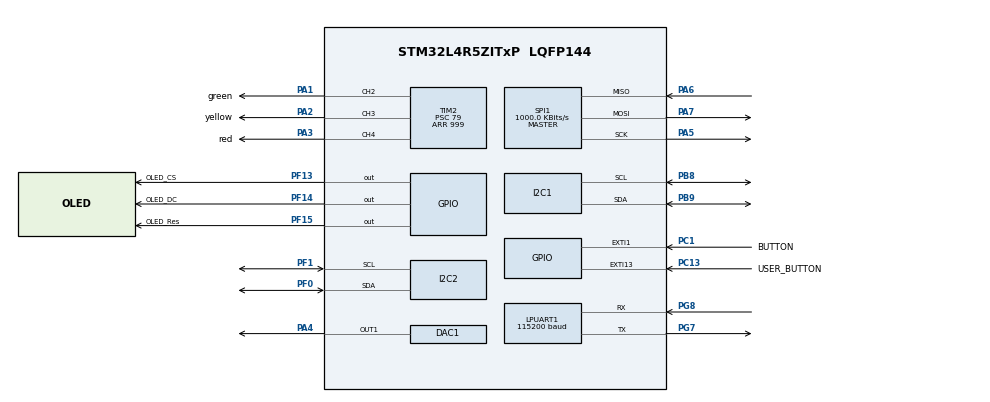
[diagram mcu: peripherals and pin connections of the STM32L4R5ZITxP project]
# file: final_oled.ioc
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DAC1.DAC_Trigger-DAC_OUT1_ExtAndInt=DAC_TRIGGER_T6_TRGO
Dma.DAC1_CH1.0.Direction=DMA_MEMORY_TO_PERIPH
Dma.DAC1_CH1.0.EventEnable=DISABLE
Dma.DAC1_CH1.0.Instance=DMA1_Channel1
Dma.DAC1_CH1.0.MemDataAlignment=DMA_MDATAALIGN_HALFWORD
Dma.DAC1_CH1.0.MemInc=DMA_MINC_ENABLE
Dma.DAC1_CH1.0.Mode=DMA_NORMAL
Dma.DAC1_CH1.0.PeriphDataAlignment=DMA_PDATAALIGN_HALFWORD
Dma.DAC1_CH1.0.PeriphInc=DMA_PINC_DISABLE
Dma.DAC1_CH1.0.Polarity=HAL_DMAMUX_REQUEST_GEN_RISING
Dma.DAC1_CH1.0.Priority=DMA_PRIORITY_LOW
Dma.DAC1_CH1.0.RequestNumber=1
Dma.DAC1_CH1.0.SignalID=NONE
Dma.DAC1_CH1.0.SyncEnable=DISABLE
Dma.DAC1_CH1.0.SyncPolarity=HAL_DMAMUX_SYNC_NO_EVENT
Dma.DAC1_CH1.0.SyncRequestNumber=1
Dma.DAC1_CH1.0.SyncSignalID=NONE
Dma.Request0=DAC1_CH1
I2C1.Timing=0x00100D14
I2C2.Timing=0x00100D14
LPUART1.BaudRate=115200
LPUART1.WordLength=UART_WORDLENGTH_8B
Mcu.Family=STM32L4
Mcu.Name=STM32L4R5ZITxP
Mcu.Package=LQFP144
NVIC.DMA1_Channel1_IRQn=true\:0\:0\:false\:false\:true\:false\:true\:true
NVIC.EXTI1_IRQn=true\:0\:0\:false\:false\:true\:true\:true\:true
NVIC.PriorityGroup=NVIC_PRIORITYGROUP_4
NVIC.TIM6_DAC_IRQn=true\:0\:0\:false\:false\:true\:true\:true\:true
PA1.GPIO_Label=green
PA1.Signal=S_TIM2_CH2
PA10.Signal=USB_OTG_FS_ID
PA13\ (JTMS/SWDIO).Signal=SYS_JTMS-SWDIO
PA14\ (JTCK/SWCLK).Signal=SYS_JTCK-SWCLK
PA2.GPIO_Label=yellow
PA2.Signal=S_TIM2_CH3
PA3.GPIO_Label=red
PA3.Signal=S_TIM2_CH4
PA4.Signal=COMP_DAC11_group
PA5.Mode=Full_Duplex_Master
PA5.Signal=SPI1_SCK
PA6.Mode=Full_Duplex_Master
PA6.Signal=SPI1_MISO
PA7.Mode=Full_Duplex_Master
PA7.Signal=SPI1_MOSI
PA8.Signal=USB_OTG_FS_SOF
PA9.Signal=USB_OTG_FS_VBUS
PB0.Signal=S_TIM3_CH3
PB1.Signal=ADCx_IN16
PB12.Signal=SAI2_FS_A
PB13.Signal=SAI2_SCK_A
PB14.Signal=S_TIM15_CH1
PB15.Signal=SAI2_SD_A
PB2.Signal=COMP1_INP
PB3\ (JTDO/TRACESWO).Signal=SPI3_SCK
PB4\ (NJTRST).Signal=SPI3_MISO
PB5.Signal=SPI3_MOSI
PB6.Signal=COMP2_INP
PB8.Mode=I2C
PB8.Signal=I2C1_SCL
PB9.Mode=I2C
PB9.Signal=I2C1_SDA
PC0.Signal=ADCx_IN1
PC1.GPIO_Label=BUTTON
PC1.GPIO_ModeDefaultEXTI=GPIO_MODE_IT_RISING_FALLING
PC1.GPIO_PuPd=GPIO_PULLUP
PC1.Signal=GPXTI1
PC10.Signal=SDMMC1_D2
PC11.Signal=SDMMC1_D3
PC12.Signal=SDMMC1_CK
PC13.GPIO_Label=USER_BUTTON
PC13.GPIO_PuPd=GPIO_PULLDOWN
PC13.Signal=GPXTI13
PC14-OSC32_IN\ (PC14).Signal=RCC_OSC32_IN
PC15-OSC32_OUT\ (PC15).Signal=RCC_OSC32_OUT
PC2.Signal=ADCx_IN3
PC3.Signal=ADCx_IN4
PC4.Signal=ADCx_IN13
PC5.Signal=ADCx_IN14
PC6.Signal=SAI2_MCLK_A
PC7.Signal=S_TIM3_CH2
PC8.Signal=SDMMC1_D0
PC9.Signal=SDMMC1_D1
PD0.Signal=CAN1_RX
PD14.Signal=S_TIM4_CH3
PD15.Signal=S_TIM4_CH4
PD2.Signal=SDMMC1_CMD
PD3.Signal=USART2_CTS
PD4.Signal=USART2_RTS
PD5.Signal=USART2_TX
PD6.Signal=USART2_RX
PD8.Signal=USART3_TX
PD9.Signal=USART3_RX
PE0.Signal=S_TIM4_ETR
PE10.Signal=TIM1_CH2N
PE11.Signal=S_TIM1_CH2
PE12.Signal=TIM1_CH3N
PE13.Signal=S_TIM1_CH3
PE14.Signal=TIM1_BKIN2
PE15.Signal=TIM1_BKIN
PE2.Signal=SAI1_MCLK_A
PE3.Signal=SAI1_SD_B
PE7.Signal=S_TIM1_ETR
PE8.Signal=TIM1_CH1N
PE9.Signal=S_TIM1_CH1
PF0.Mode=I2C
PF0.Signal=I2C2_SDA
PF1.Mode=I2C
PF1.Signal=I2C2_SCL
PF13.GPIO_Label=OLED_CS
PF13.GPIO_Speed=GPIO_SPEED_FREQ_LOW
PF13.PinState=GPIO_PIN_SET
PF13.Signal=GPIO_Output
PF14.GPIO_Label=OLED_DC
PF14.PinState=GPIO_PIN_SET
PF14.Signal=GPIO_Output
PF15.GPIO_Label=OLED_Res
PF15.PinState=GPIO_PIN_SET
PF15.Signal=GPIO_Output
PF2.Signal=I2C2_SMBA
PF7.Signal=SAI1_MCLK_B
PG7.Mode=Asynchronous
PG7.Signal=LPUART1_TX
PG8.Mode=Asynchronous
PG8.Signal=LPUART1_RX
PH0-OSC_IN\ (PH0).Signal=RCC_OSC_IN
PH1-OSC_OUT\ (PH1).Signal=RCC_OSC_OUT
ProjectManager.HeapSize=0x200
ProjectManager.StackSize=0x400
ProjectManager.TargetToolchain=STM32CubeIDE
RCC.HSE_VALUE=8000000
RCC.HSI48_VALUE=48000000
RCC.HSI_VALUE=16000000
RCC.LSE_VALUE=32768
RCC.MSI_VALUE=4000000
RCC.VCOOutputFreq_Value=32000000
SH.ADCx_IN1.0=ADC1_IN1
SH.ADCx_IN13.0=ADC1_IN13
SH.ADCx_IN14.0=ADC1_IN14
SH.ADCx_IN16.0=ADC1_IN16
SH.ADCx_IN3.0=ADC1_IN3
SH.ADCx_IN4.0=ADC1_IN4
SH.COMP_DAC11_group.0=DAC1_OUT1,DAC_OUT1_ExtAndInt
SH.S_TIM15_CH1.0=TIM15_CH1
SH.S_TIM1_CH1.0=TIM1_CH1
SH.S_TIM1_CH2.0=TIM1_CH2
SH.S_TIM1_CH3.0=TIM1_CH3
SH.S_TIM1_ETR.0=TIM1_ETR
SH.S_TIM2_CH2.0=TIM2_CH2,PWM Generation2 CH2
SH.S_TIM2_CH3.0=TIM2_CH3,PWM Generation3 CH3
SH.S_TIM2_CH4.0=TIM2_CH4,PWM Generation4 CH4
SH.S_TIM3_CH2.0=TIM3_CH2
SH.S_TIM3_CH3.0=TIM3_CH3
SH.S_TIM4_CH3.0=TIM4_CH3
SH.S_TIM4_CH4.0=TIM4_CH4
SH.S_TIM4_ETR.0=TIM4_ETR
SPI1.BaudRatePrescaler=SPI_BAUDRATEPRESCALER_4
SPI1.CalculateBaudRate=1000.0 KBits/s
SPI1.DataSize=SPI_DATASIZE_8BIT
SPI1.Direction=SPI_DIRECTION_2LINES
SPI1.Mode=SPI_MODE_MASTER
SPI1.VirtualType=VM_MASTER
TIM2.Channel-PWM\ Generation2\ CH2=TIM_CHANNEL_2
TIM2.Channel-PWM\ Generation3\ CH3=TIM_CHANNEL_3
TIM2.Channel-PWM\ Generation4\ CH4=TIM_CHANNEL_4
TIM2.Period=999
TIM2.Prescaler=79
TIM2.Pulse-PWM\ Generation2\ CH2=500
TIM2.Pulse-PWM\ Generation3\ CH3=500
TIM2.Pulse-PWM\ Generation4\ CH4=500
TIM6.Period=181
TIM6.TIM_MasterOutputTrigger=TIM_TRGO_UPDATE
VP_TIM2_VS_ClockSourceINT.Mode=Internal
VP_TIM6_VS_ClockSourceINT.Mode=Enable_Timer
board=NUCLEO-L4R5ZI-P

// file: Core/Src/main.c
/* USER CODE BEGIN Header */
/**
  ******************************************************************************
  * @file           : main.c
  * @brief          : Main program body
  ******************************************************************************
  * @attention
  *
  * Copyright (c) 2025 STMicroelectronics.
  * All rights reserved.
  *
  * This software is licensed under terms that can be found in the LICENSE file
  * in the root directory of this software component.
  * If no LICENSE file comes with this software, it is provided AS-IS.
  *
  ******************************************************************************
  */
/* USER CODE END Header */
#include "main.h"
#include "dac.h"
#include "dma.h"
#include "i2c.h"
#include "usart.h"
#include "spi.h"
#include "tim.h"
#include "gpio.h"

/* USER CODE BEGIN Includes */
#include "ssd1306.h"
#include "ssd1306_fonts.h"
#include <string.h>

#include "utils.h"
#include <stdio.h>

#include <stdbool.h>

#include "ssd1306_tests.h"
#include "system_state.h"
#include "button.h"
#include "oled.h"
#include "speaker.h"
#include "led.h"

#include "acc_mag.h"
#include "acc_controller.h"
#include "i2c_helper.h"

/* USER CODE END Includes */

void SystemClock_Config(void);

int main(void)
{

  /* MCU Configuration--------------------------------------------------------*/

  /* Reset of all peripherals, Initializes the Flash interface and the Systick. */
  HAL_Init();

  /* Configure the system clock */
  SystemClock_Config();

  /* Initialize all configured peripherals */
  MX_GPIO_Init();
  MX_DMA_Init();
  MX_LPUART1_UART_Init();
  MX_SPI1_Init();
  MX_DAC1_Init();
  MX_TIM6_Init();
  MX_I2C1_Init();
  MX_I2C2_Init();
  MX_TIM2_Init();
  /* USER CODE BEGIN 2 */

  ssd1306_Init(); 				// Initialize OLED display

  initSpeaker();				// Initialize speaker

  acc_controller_init();		// Initialize accelerometers

  led_init();					// Initialize leds

  // Display startup message
  ssd1306_SetCursor(10, 10);	  	// Place cursor
  ssd1306_WriteString("Bike Drift", Font_11x18, White);
  ssd1306_SetCursor(25, 33);	  	// Place cursor
  ssd1306_WriteString("Speaker", Font_11x18, White);

  ssd1306_UpdateScreen();

  loadDrift(driftIndex, volumeScale); // Pre-load drift 1

  /* USER CODE END 2 */

  /* Infinite loop */
  /* USER CODE BEGIN WHILE */

  while (1)
  {
	  // 1. Determine button press and set flags for OLED, speaker, and accel
	  handle_button();

	  // 2. Check for turning signal from accelerometers
	  turning = update_gyr_data_just_enable();

	  // 3. Refresh the display to show new message
	  if (refreshDisplay) {
		  refreshDisplay = 0;

		  switch (currentMode) {
		  	  case MODE_ACCEL:
		  		  oled_accel_mode();
		  		  break;
		  	  case MODE_SOUND:
	  			  oled_speaker_mode();
		  		  break;
		  	  case MODE_VOLUME:
		  		  if (volumeSet) {
		  			  oled_volume_set();
		  			  HAL_Delay(1500);
		  			  oled_volume_mode();
		  		  } else {
		  			  // Update volume bar
		  			  oled_volume_mode();
		  		  }
		  		  break;
		  	  default:
		  		  break;
		  }
	  }

	  // 4. Play drift sound
	  if (turning) {
		  playDrift();
	  }

	  // 5. Set LED brightness
	  Set_LED_Brightness(volumeScale);

    /* USER CODE END WHILE */

  }
}

void SystemClock_Config(void)
{
  RCC_OscInitTypeDef RCC_OscInitStruct = {0};
  RCC_ClkInitTypeDef RCC_ClkInitStruct = {0};

  /** Configure the main internal regulator output voltage
  */
  if (HAL_PWREx_ControlVoltageScaling(PWR_REGULATOR_VOLTAGE_SCALE1) != HAL_OK)
  {
    Error_Handler();
  }

  /** Initializes the RCC Oscillators according to the specified parameters
  * in the RCC_OscInitTypeDef structure.
  */
  RCC_OscInitStruct.OscillatorType = RCC_OSCILLATORTYPE_MSI;
  RCC_OscInitStruct.MSIState = RCC_MSI_ON;
  RCC_OscInitStruct.MSICalibrationValue = 0;
  RCC_OscInitStruct.MSIClockRange = RCC_MSIRANGE_6;
  RCC_OscInitStruct.PLL.PLLState = RCC_PLL_NONE;
  if (HAL_RCC_OscConfig(&RCC_OscInitStruct) != HAL_OK)
  {
    Error_Handler();
  }

  /** Initializes the CPU, AHB and APB buses clocks
  */
  RCC_ClkInitStruct.ClockType = RCC_CLOCKTYPE_HCLK|RCC_CLOCKTYPE_SYSCLK
                              |RCC_CLOCKTYPE_PCLK1|RCC_CLOCKTYPE_PCLK2;
  RCC_ClkInitStruct.SYSCLKSource = RCC_SYSCLKSOURCE_MSI;
  RCC_ClkInitStruct.AHBCLKDivider = RCC_SYSCLK_DIV1;
  RCC_ClkInitStruct.APB1CLKDivider = RCC_HCLK_DIV1;
  RCC_ClkInitStruct.APB2CLKDivider = RCC_HCLK_DIV1;

  if (HAL_RCC_ClockConfig(&RCC_ClkInitStruct, FLASH_LATENCY_0) != HAL_OK)
  {
    Error_Handler();
  }
}

/* USER CODE BEGIN 4 */

void HAL_GPIO_EXTI_Callback(uint16_t GPIO_Pin)
{
    if (GPIO_Pin == BUTTON_Pin)
    {
    	button_SetIRQFlag();	// Set button flag high
    }
}

/* USER CODE END 4 */

void Error_Handler(void)
{
  __disable_irq();
  while (1)
  {
  }
}
